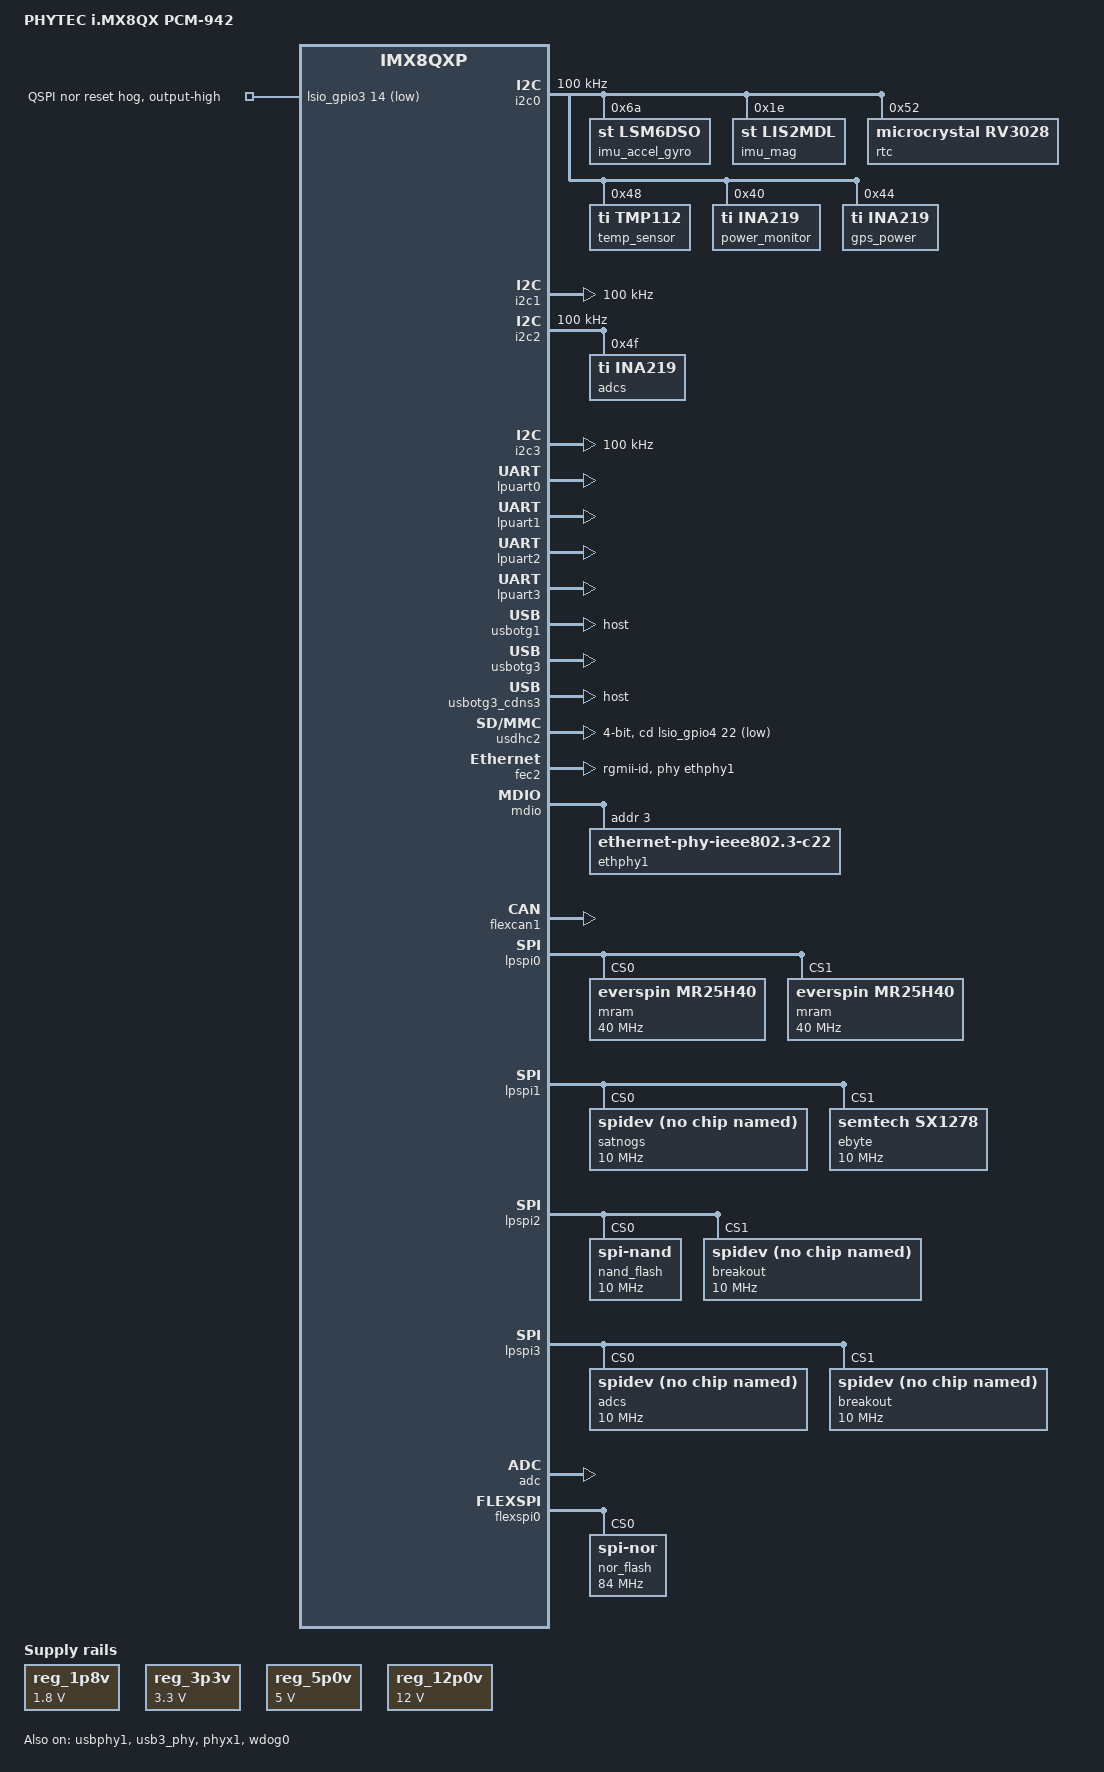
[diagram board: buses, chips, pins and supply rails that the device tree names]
// SPDX-License-Identifier: GPL-2.0+
/*
 * Copyright (C) 2018 PHYTEC Messtechnik GmbH
 *
 * Copyright (C) 2019-2021 PHYTEC America, LLC
 */

/dts-v1/;

#include "imx8qxp-phycore-som-emmc.dtsi"
#include <dt-bindings/leds/common.h>

/ {
	model = "PHYTEC i.MX8QX PCM-942";
	compatible = "phytec,imx8qxp-pcm-942", "phytec,imx8qxp-phycore-som", "fsl,imx8qxp";

	chosen {
		bootargs = "console=ttyLP0,115200 earlycon=lpuart32,0x5a060000,115200";
		stdout-path = &lpuart0;
	};

	reg_1p8v: regulator-1p8v {
		compatible = "regulator-fixed";
		regulator-name = "1P8V";
		regulator-min-microvolt = <1800000>;
		regulator-max-microvolt = <1800000>;
		regulator-always-on;
	};

	reg_3p3v: regulator-3p3v {
		compatible = "regulator-fixed";
		regulator-name = "3P3V";
		regulator-min-microvolt = <3300000>;
		regulator-max-microvolt = <3300000>;
		regulator-always-on;
	};

	
	reg_5p0v: regulator-5p0v {
		compatible = "regulator-fixed";
		regulator-name = "5P0V";
		regulator-min-microvolt = <5000000>;
		regulator-max-microvolt = <5000000>;
		regulator-always-on;
	};

	reg_12p0v: regulator-12p0v {
        compatible = "regulator-fixed";
        regulator-name = "12P0V";
        regulator-min-microvolt = <12000000>;
        regulator-max-microvolt = <12000000>;
        regulator-always-on;
	};

};

/************************ I2C *************************/
&i2c0 {
	#address-cells = <1>;
	#size-cells = <0>;
	clock-frequency = <100000>;
	pinctrl-names = "default";
	pinctrl-0 = <&pinctrl_lpi2c0>;
	status = "okay";

	imu_accel_gyro@6a {
		compatible = "st,lsm6dso";
		reg = <0x6a>;
	};

	imu_mag@1e {
		compatible = "st,lis2mdl";
		reg = <0x1e>;
	};

	rtc@52 {
		compatible = "microcrystal,rv3028";
		reg = <0x52>;
	};

	temp_sensor@48 {
		compatible = "ti,tmp112";
		reg = <0x48>;
	};
	
	power_monitor@40 {
		compatible = "ti,ina219";
		reg = <0x40>;
		shunt-resistor = <2000>; // in micro-ohm
	};

	gps_power@44 {
		compatible = "ti,ina219";
		reg = <0x44>;
		shunt-resistor = <2000>; 
	};
};

&i2c1 {
	#address-cells = <1>;
	#size-cells = <0>;
	clock-frequency = <100000>;
	pinctrl-names = "default";
	pinctrl-0 = <&pinctrl_lpi2c1>;
	status = "okay";
};

&i2c2 {
	#address-cells = <1>;
	#size-cells = <0>;
	clock-frequency = <100000>;
	pinctrl-names = "default";
	pinctrl-0 = <&pinctrl_lpi2c2>;
	status = "okay";

	adcs@4f {
		compatible = "ti,ina219";
		reg = <0x4f>;
		shunt-resistor = <2000>;
	};
};

&i2c3 {
	#address-cells = <1>;
	#size-cells = <0>;
	clock-frequency = <100000>;
	pinctrl-names = "default";
	pinctrl-0 = <&pinctrl_lpi2c3>;
	status = "okay";
};

/*********************** UART *********************/
&lpuart0 {
	pinctrl-names = "default";
	pinctrl-0 = <&pinctrl_lpuart0>;
	status = "okay";
};

&lpuart1 {
	pinctrl-names = "default";
	pinctrl-0 = <&pinctrl_lpuart1>, <&pinctrl_lpuart1_rtscts>;
	fsl,uart-has-rtscts;  /* activation property */
	status = "okay";
};

&lpuart2 {
	pinctrl-names = "default";
	pinctrl-0 = <&pinctrl_lpuart2>;
	status = "okay";
};

&lpuart3 {
	pinctrl-names = "default";
	pinctrl-0 = <&pinctrl_lpuart3>;
	status = "okay";
};

&gpu_3d0 {
	status = "disabled";
};

&imx8_gpu_ss {
	status = "disabled";
};

&dc0_prg1 {
	status = "disabled";
};

&dc0_prg2 {
	status = "disabled";
};

&dc0_prg3 {
	status = "disabled";
};

&dc0_prg4 {
	status = "disabled";
};

&dc0_prg5 {
	status = "disabled";
};

&dc0_prg6 {
	status = "disabled";
};

&dc0_prg7 {
	status = "disabled";
};

&dc0_prg8 {
	status = "disabled";
};

&dc0_prg9 {
	status = "disabled";
};

&dc0_dpr1_channel1 {
	status = "disabled";
};

&dc0_dpr1_channel2 {
	status = "disabled";
};

&dc0_dpr1_channel3 {
	status = "disabled";
};

&dc0_dpr2_channel1 {
	status = "disabled";
};

&dc0_dpr2_channel2 {
	status = "disabled";
};

&dc0_dpr2_channel3 {
	status = "disabled";
};

&dpu1 {
	status = "disabled";
};

&usbphy1 {
	status = "okay";
};

&usbotg1 {
	dr_mode = "host";
	srp-disable;
	hnp-disable;
	adp-disable;
	disable-over-current;
	status = "okay";
};

&usb3_phy {
	status = "okay";
};

&usbotg3 {
	status = "okay";
};

&usbotg3_cdns3 {
	dr_mode = "host";
	usb-role-switch;
	status = "okay";
};

&usdhc2 {
	pinctrl-names = "default", "state_100mhz", "state_200mhz";
	pinctrl-0 = <&pinctrl_usdhc2_sd>, <&pinctrl_usdhc2_gpio>;
	pinctrl-1 = <&pinctrl_usdhc2_sd>, <&pinctrl_usdhc2_gpio>;
	pinctrl-2 = <&pinctrl_usdhc2_sd>, <&pinctrl_usdhc2_gpio>;
	bus-width = <4>;
	no-1-8-v;
	cd-gpios = <&lsio_gpio4 22 GPIO_ACTIVE_LOW>;
	status = "okay";
};

/******************** ETHERNET *********************/
&fec2 {
	pinctrl-names = "default";
	pinctrl-0 = <&pinctrl_fec2>;
	phy-mode = "rgmii-id";
	phy-handle = <&ethphy1>;
	fsl,magic-packet;
	nvmem-cells = <&fec_mac1>;
	nvmem-cell-names = "mac-address";
	status = "okay";
};

&mdio {
	ethphy1: ethernet-phy@3 {
		compatible = "ethernet-phy-ieee802.3-c22";
		reg = <3>;
		ti,rx-internal-delay = <DP83867_RGMIIDCTL_2_50_NS>;
		ti,tx-internal-delay = <DP83867_RGMIIDCTL_2_50_NS>;
		ti,fifo-depth = <DP83867_PHYCR_FIFO_DEPTH_8_B_NIB>;
		ti,led-0-active-low;
		ti,led-2-active-low;
		enet-phy-lane-no-swap;
	};
};

/******************** FLEXCAN ********************/
&flexcan1 {
	pinctrl-names = "default";
	pinctrl-0 = <&pinctrl_flexcan1>;
	status = "okay";
};

&i2c0_mipi_lvds0 {
	pinctrl-names = "default";
	pinctrl-0 = <&pinctrl_i2c0_mipi_lvds0>;
	clock-frequency = <100000>;
	status = "disabled";
};

&i2c0_mipi_lvds1 {
	pinctrl-names = "default";
	pinctrl-0 = <&pinctrl_i2c0_mipi_lvds1>;
	clock-frequency = <100000>;
	status = "disabled";
};

&ldb1_phy {
	status = "disabled";
};

&ldb2_phy {
	status = "disabled";
};

&ldb1 {
	status = "disabled";
};

&ldb2 {
	status = "disabled";
};

&dc0_pc {
	status = "disabled";
};

&phyx1 {
	fsl,refclk-pad-mode = <IMX8_PCIE_REFCLK_PAD_INPUT>;
	status = "okay";
};

&pcieb{
	pinctrl-names = "default";
	pinctrl-0 = <&pinctrl_pcieb>;
	reset-gpio = <&lsio_gpio4 0 GPIO_ACTIVE_LOW>;
	vpcie-supply = <&reg_pcieb>;
	ext_osc = <1>;
	status = "disabled";
};

&sai1 {
	#sound-dai-cells = <0>;
	pinctrl-names = "default";
	pinctrl-0 = <&pinctrl_sai1>;
	status = "disabled";
};

/****************** SPI *********************/
&lpspi0 {
	fsl,spi-num-chipselects = <2>;
	pinctrl-names = "default";
	pinctrl-0 = <&pinctrl_lpspi0>;
	status = "okay";

	mram@0 {
		reg = <0>;
		compatible = "everspin,mr25h40";
		spi-max-frequency = <40000000>;
	};

	mram@1 {
		reg = <1>;
		compatible = "everspin,mr25h40";
		spi-max-frequency = <40000000>;
	};
};

&lpspi1 {
	fsl,spi-num-chipselects = <2>;
	pinctrl-names = "default";
	pinctrl-0 = <&pinctrl_lpspi1>;
	status = "okay";

	satnogs@0 {
		reg = <0>;
		compatible = "rohm,dh2228fv";
		spi-max-frequency = <10000000>;
	};

	ebyte@1 {
		reg = <1>;
		compatible = "semtech,sx1278";
		spi-max-frequency = <10000000>;
	};
};

&lpspi2 {
	fsl,spi-num-chipselects = <2>;
	pinctrl-names = "default";
	pinctrl-0 = <&pinctrl_lpspi2>;
	status = "okay";

	nand_flash@0 {
		reg = <0>;
		compatible = "spi-nand";
		spi-max-frequency = <10000000>;
	};

	breakout@1 {
		reg = <1>;
		compatible = "rohm,dh2228fv";
		spi-max-frequency = <10000000>;
	};
};

&lpspi3 {
	fsl,spi-num-chipselects = <2>;
	pinctrl-names = "default";
	pinctrl-0 = <&pinctrl_lpspi3>;
	status = "okay";

	adcs@0 {
		reg = <0>;
		compatible = "rohm,dh2228fv";
		spi-max-frequency = <10000000>;
	};

	breakout@1 {
		reg = <1>;
		compatible = "rohm,dh2228fv";
		spi-max-frequency = <10000000>;
	};
};

&adc {
	pinctrl-names = "default";
	pinctrl-0 = <&pinctrl_adc>;
	status = "okay";
};

&flexspi0 {
	pinctrl-names = "default";
	pinctrl-0 = <&pinctrl_qspidatalines>, <&pinctrl_selectandclk>;
	status = "okay";

	nor_flash@0 {
		reg = <0>;
		compatible = "jedec,spi-nor";
		spi-max-frequency = <84000000>;
	};
};

&wdog0 {
	pinctrl-names = "default";
	pinctrl-0 = <&pinctrl_watchdog>;
	status = "okay";
};

&lsio_gpio3 {
	nor_reset-hog {
		gpio-hog;
		gpios = <14 GPIO_ACTIVE_LOW>;
		output-high;
		line-name = "QSPI nor reset";
	};
};

&iomuxc {
	pinctrl-names = "default";
	pinctrl-0 = <&pinctrl_hog>, <&pinctrl_ebyte>, <&pinctrl_heater_trigger>, 
				<&pinctrl_payload>, <&pinctrl_power_management>, <&pinctrl_adcs>, 
				<&pinctrl_satnogs>, <&pinctrl_breakout_connector>, 
				<&pinctrl_imager_load>, <&pinctrl_adcs_load_switch>, <&pinctrl_m40>;

	pcm942 {
		// 10/100/1000 Mbps Ethernet1 RGMII Interface
		pinctrl_fec2: fec2grp {
			fsl,pins = <
				IMX8QXP_ESAI0_SCKR_CONN_ENET1_RGMII_TX_CTL	   		0x06000060
				IMX8QXP_ESAI0_FSR_CONN_ENET1_RGMII_TXC		   		0x06000060
				IMX8QXP_ESAI0_TX4_RX1_CONN_ENET1_RGMII_TXD0	   		0x06000060
				IMX8QXP_ESAI0_TX5_RX0_CONN_ENET1_RGMII_TXD1	   		0x06000060
				IMX8QXP_ESAI0_FST_CONN_ENET1_RGMII_TXD2		   		0x06000060
				IMX8QXP_ESAI0_SCKT_CONN_ENET1_RGMII_TXD3	   		0x06000060
				IMX8QXP_ESAI0_TX0_CONN_ENET1_RGMII_RXC		   		0x06000060
				IMX8QXP_SPDIF0_TX_CONN_ENET1_RGMII_RX_CTL	   		0x06000060
				IMX8QXP_SPDIF0_RX_CONN_ENET1_RGMII_RXD0		   		0x06000060
				IMX8QXP_ESAI0_TX3_RX2_CONN_ENET1_RGMII_RXD1	   		0x06000060
				IMX8QXP_ESAI0_TX2_RX3_CONN_ENET1_RGMII_RXD2	   		0x06000060
				IMX8QXP_ESAI0_TX1_CONN_ENET1_RGMII_RXD3		   		0x06000060
				IMX8QXP_SPDIF0_EXT_CLK_CONN_ENET1_REFCLK_125M_25M 	0x06000060
			>;
		};

		// 10/100/1000 Mbps Ethernet0 Differential Interface
		pinctrl_fec1: fec1grp {
			fsl,pins = <
				IMX8QXP_ENET0_MDC_CONN_ENET0_MDC            0x06000060
                IMX8QXP_ENET0_MDIO_CONN_ENET0_MDIO          0x06000060
			>;
		};

		// Onbord RTC, IMU sensors, Temperature sensors, power monitors
		pinctrl_lpi2c0: lpi0cgrp {
			fsl,pins = <
				IMX8QXP_MIPI_CSI0_GPIO0_00_ADMA_I2C0_SCL    0x06000060
                IMX8QXP_MIPI_CSI0_GPIO0_01_ADMA_I2C0_SDA    0x06000060
			>;
		};

		// Electrical Power System Management Board
		pinctrl_lpi2c1: lpi1cgrp {
			fsl,pins = <
				IMX8QXP_USB_SS3_TC1_ADMA_I2C1_SCL           0x06000060
                IMX8QXP_USB_SS3_TC3_ADMA_I2C1_SDA           0x06000060
			>;
		};

		// ADCS Connection
		pinctrl_lpi2c2: lpi2cgrp {
			fsl,pins = <
				IMX8QXP_MIPI_DSI1_GPIO0_00_ADMA_I2C2_SCL    0x06000060
                IMX8QXP_MIPI_DSI1_GPIO0_01_ADMA_I2C2_SDA    0x06000060
			>;
		};

		// Payload Board
		pinctrl_lpi2c3: lpi3cgrp {
			fsl,pins = <
				IMX8QXP_CSI_EN_ADMA_I2C3_SCL                0x06000060
                IMX8QXP_CSI_RESET_ADMA_I2C3_SDA             0x06000060
			>;
		};

		// 2x MRAM
		pinctrl_lpspi0: lpspi0grp {
			fsl,pins = <
				IMX8QXP_SPI0_CS0_ADMA_SPI0_CS0              0x06000020     	/* MRAM #1 */
                IMX8QXP_SPI0_CS1_ADMA_SPI0_CS1              0x06000020		/* MRAM #2 */
                IMX8QXP_SPI0_SCK_ADMA_SPI0_SCK              0x06000060
                IMX8QXP_SPI0_SDI_ADMA_SPI0_SDI              0x06000060
                IMX8QXP_SPI0_SDO_ADMA_SPI0_SDO              0x06000060
			>;
		};

		// SATNOGS Board & EBYTE UHF Transceiver Module
		pinctrl_lpspi1: lpspi1grp {
			fsl,pins = <
				IMX8QXP_SAI0_RXD_ADMA_SPI1_CS0              0x06000020		/* SATNOGS */
                IMX8QXP_SAI1_RXD_ADMA_SPI1_CS1              0x06000060		/* EBYTE */
				IMX8QXP_SAI0_TXC_ADMA_SPI1_SDI              0x06000060
                IMX8QXP_SAI0_TXD_ADMA_SPI1_SDO              0x06000060
				IMX8QXP_CSI_PCLK_ADMA_SPI1_SCK              0x06000060
			>;
		};

		// NAND Flash & Breakout Connector
		pinctrl_lpspi2: lpspi2grp {
			fsl,pins = < 
				IMX8QXP_SPI2_CS0_ADMA_SPI2_CS0              0x06000020		/* NAND Flash */
				IMX8QXP_SAI0_TXFS_ADMA_SPI2_CS1             0x06000020		/* Breakout */
                IMX8QXP_SPI2_SCK_ADMA_SPI2_SCK              0x06000060
                IMX8QXP_SPI2_SDI_ADMA_SPI2_SDI              0x06000060
                IMX8QXP_SPI2_SDO_ADMA_SPI2_SDO              0x06000060
			>;
		};

		//ADCS Connection & Breakout Connector
		pinctrl_lpspi3: lpspi3grp {
			fsl,pins = <
				IMX8QXP_SPI3_CS0_ADMA_SPI3_CS0              0x06000020		/* ADCS */
                IMX8QXP_SPI3_CS1_ADMA_SPI3_CS1              0x06000020		/* Breakout */
                IMX8QXP_SPI3_SCK_ADMA_SPI3_SCK              0x06000060
                IMX8QXP_SPI3_SDI_ADMA_SPI3_SDI              0x06000060
                IMX8QXP_SPI3_SDO_ADMA_SPI3_SDO              0x06000060
			>;
		};

		// MUXED Programming / Breakout
		pinctrl_lpuart0: lpuart0grp {
			fsl,pins = <
				IMX8QXP_UART0_RX_ADMA_UART0_RX              0x06000060
                IMX8QXP_UART0_TX_ADMA_UART0_TX              0x06000060
			>;
		};

		// RS-422 Payloard Board Connection
		pinctrl_lpuart1: lpuart1grp {
			fsl,pins = <
				IMX8QXP_UART1_RX_ADMA_UART1_RX              0x06000060
                IMX8QXP_UART1_TX_ADMA_UART1_TX              0x06000060
			>;
		};

		//
		pinctrl_lpuart1_rtscts: lpuart1rtsctsgrp {
			fsl,pins = <
				IMX8QXP_UART1_CTS_B_ADMA_UART1_CTS_B        0x06000060
                IMX8QXP_UART1_RTS_B_ADMA_UART1_RTS_B        0x06000060
			>;
		};

		// GNSS / GPS Module
		pinctrl_lpuart2: lpuart2grp {
			fsl,pins = <
				IMX8QXP_UART2_RX_ADMA_UART2_RX              0x06000020
                IMX8QXP_UART2_TX_ADMA_UART2_TX              0x06000060
			>;
		};

		// SATNOGS S-Band Transceiver Board
		pinctrl_lpuart3: lpuart3grp {
			fsl,pins = <
				IMX8QXP_FLEXCAN2_RX_ADMA_UART3_RX           0x06000060
                IMX8QXP_FLEXCAN2_TX_ADMA_UART3_TX           0x06000060
			>;
		};
		// FLEXCAN1 SATNOGS S-Band Transceiver Board
		pinctrl_flexcan1: flexcan1grp {
			fsl,pins = <
				IMX8QXP_FLEXCAN1_RX_ADMA_FLEXCAN1_RX        0x06000060
                IMX8QXP_FLEXCAN1_TX_ADMA_FLEXCAN1_TX        0x06000060
			>;
		};
		
		// 
		pinctrl_usdhc2_gpio: usdhc2gpiogrp {
			fsl,pins = <
				IMX8QXP_USDHC1_CD_B_LSIO_GPIO4_IO22         0x06000060
			>;
		};

		// usdhc1 clk is set to pull down instead of no pull from the dts given to us, but I set it to no pull
		pinctrl_usdhc2_sd: usdhc2sdgrp {
			fsl,pins = <
				IMX8QXP_USDHC1_CLK_CONN_USDHC1_CLK			0x06000040 
				IMX8QXP_USDHC1_CMD_CONN_USDHC1_CMD			0x06000060
				IMX8QXP_USDHC1_DATA0_CONN_USDHC1_DATA0		0x06000060
				IMX8QXP_USDHC1_DATA1_CONN_USDHC1_DATA1		0x06000060
				IMX8QXP_USDHC1_DATA2_CONN_USDHC1_DATA2		0x06000060
				IMX8QXP_USDHC1_DATA3_CONN_USDHC1_DATA3		0x06000060
				IMX8QXP_USDHC1_RESET_B_CONN_USDHC1_RESET_B  0x06000060
			>;
		};

		// QSPI NOR Flash Reset
		pinctrl_qspi_nor_reset: qspinorresetgrp {
			fsl,pins = <
				IMX8QXP_QSPI0A_SS0_B_LSIO_GPIO3_IO14        0x06000060
			>;
		};

		// 1.8V ADC Breakout
		pinctrl_adc: adcgrp {
			fsl,pins = <
				IMX8QXP_ADC_IN0_ADMA_ADC_IN0                0x00000060
                IMX8QXP_ADC_IN1_ADMA_ADC_IN1                0x00000060
                IMX8QXP_ADC_IN2_ADMA_ADC_IN2                0x00000060
				IMX8QXP_ADC_IN4_ADMA_ADC_IN4                0x00000060
                IMX8QXP_ADC_IN5_ADMA_ADC_IN5                0x00000060
			>;
		};

		// EBYTE Transciever Board
		pinctrl_ebyte: ebytegrp {
			fsl,pins = <
				IMX8QXP_MIPI_DSI0_I2C0_SCL_LSIO_GPIO1_IO25  0x06000060
                IMX8QXP_MIPI_DSI0_I2C0_SDA_LSIO_GPIO1_IO26  0x06000060
				IMX8QXP_MIPI_DSI0_GPIO0_00_LSIO_GPIO1_IO27  0x06000060
                IMX8QXP_MIPI_DSI0_GPIO0_01_LSIO_GPIO1_IO28  0x06000060
				IMX8QXP_MIPI_DSI1_I2C0_SDA_LSIO_GPIO1_IO30  0x06000060
			>;
		};

		// Preliminary Heater Trigger Connection
		pinctrl_heater_trigger: heatertriggergrp {
			fsl,pins = <
				IMX8QXP_MIPI_DSI1_I2C0_SCL_LSIO_GPIO1_IO29  0x06000060
				IMX8QXP_CSI_MCLK_LSIO_GPIO3_IO01            0x26000060
			>;
		};

		// Payload Board Connection
		pinctrl_payload: payloadgrp {
			fsl,pins = <
				IMX8QXP_FLEXCAN0_RX_LSIO_GPIO1_IO15         0x06000060
                IMX8QXP_FLEXCAN0_TX_LSIO_GPIO1_IO16         0x26000060
				IMX8QXP_USB_SS3_TC0_LSIO_GPIO4_IO03         0x06000060
				IMX8QXP_USB_SS3_TC2_LSIO_GPIO4_IO05         0x06000060
			>;
		};
		// Electrical Power System Management Board Connections
		pinctrl_power_management: powermanaggrp {
			fsl,pins = <
				IMX8QXP_PCIE_CTRL0_CLKREQ_B_LSIO_GPIO4_IO01 0x06000060
				IMX8QXP_PCIE_CTRL0_WAKE_B_LSIO_GPIO4_IO02   0x06000060
				IMX8QXP_MCLK_IN0_LSIO_GPIO0_IO19            0x06000060
                IMX8QXP_MCLK_OUT0_LSIO_GPIO0_IO20           0x26000060
			>;
		};

		// Preliminary ADCS Connection
		pinctrl_adcs: adcsgrp {
			fsl,pins = <
				IMX8QXP_USDHC1_VSELECT_LSIO_GPIO4_IO20		0x06000021
				IMX8QXP_USDHC1_WP_LSIO_GPIO4_IO21           0x06000060
				IMX8QXP_SAI1_RXC_LSIO_GPIO0_IO30       		0x06000021
				IMX8QXP_SAI1_RXFS_LSIO_GPIO0_IO31      		0x06000021
			>;
		};

		// SATNOGS Load Switch
		pinctrl_satnogs: satnogsgrp {
			fsl,pins = <
				IMX8QXP_PCIE_CTRL0_PERST_B_LSIO_GPIO4_IO00  0x06000060
			>;
		};

		// Shifted 3.3V Breakout Connector
		pinctrl_breakout_connector: breakoutconnectgrp {
			fsl,pins = <
				IMX8QXP_QSPI0B_SS0_B_LSIO_GPIO3_IO23        0x26000060
                IMX8QXP_QSPI0B_SS1_B_LSIO_GPIO3_IO24        0x26000060
				IMX8QXP_QSPI0B_SCLK_LSIO_GPIO3_IO17         0x26000060
				IMX8QXP_QSPI0B_DQS_LSIO_GPIO3_IO22          0x06000060
				IMX8QXP_MIPI_CSI0_MCLK_OUT_LSIO_GPIO3_IO04  0x26000060
				IMX8QXP_MIPI_CSI0_I2C0_SCL_LSIO_GPIO3_IO05  0x06000060
			>;
		};

		//Shifted 3.3V Imager Load Switch
		pinctrl_imager_load: imagerloadgrp {
			fsl,pins = <
				IMX8QXP_MIPI_CSI0_I2C0_SDA_LSIO_GPIO3_IO06  0x06000060
			>;
		};

		//Shifted ADCS Load Switch
		pinctrl_adcs_load_switch: adcsloadswitchgrp {
			fsl,pins = <
				IMX8QXP_QSPI0A_DQS_LSIO_GPIO3_IO13          0x06000060
			>;
		};

		// QSPI Data Lines
		pinctrl_qspidatalines: qspidatalinesgrp {
			fsl,pins = <
				IMX8QXP_QSPI0A_DATA0_LSIO_QSPI0A_DATA0      0x06000060
                IMX8QXP_QSPI0A_DATA1_LSIO_QSPI0A_DATA1      0x06000060
                IMX8QXP_QSPI0A_DATA2_LSIO_QSPI0A_DATA2      0x06000060
                IMX8QXP_QSPI0A_DATA3_LSIO_QSPI0A_DATA3      0x06000060
				IMX8QXP_QSPI0B_DATA0_LSIO_QSPI0B_DATA0      0x06000060
                IMX8QXP_QSPI0B_DATA1_LSIO_QSPI0B_DATA1      0x06000060
                IMX8QXP_QSPI0B_DATA2_LSIO_QSPI0B_DATA2      0x06000060
                IMX8QXP_QSPI0B_DATA3_LSIO_QSPI0B_DATA3      0x06000060
			>;
		};

		// QSPI Select ad QSPI CLK
		pinctrl_selectandclk: selectandclkgrp {
			fsl,pins = <
				IMX8QXP_QSPI0A_SCLK_LSIO_QSPI0A_SCLK        0x06000060
                IMX8QXP_QSPI0A_SS1_B_LSIO_QSPI0A_SS1_B      0x06000060
			>;
		};

		// Watchdog
		pinctrl_watchdog: watchdoggrp {
			fsl,pins = <
				IMX8QXP_SCU_GPIO0_01_SCU_WDOG0_WDOG_OUT     0x06000060
			>;
		};

		// M40 UART0 RX and TX (1.8V)
		pinctrl_m40: m40grp {
			fsl,pins = <
				IMX8QXP_ADC_IN3_M40_UART0_TX                0x00000060
				IMX8QXP_SCU_GPIO0_00_M40_UART0_RX           0x06000060
			>;
		};
	};
};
